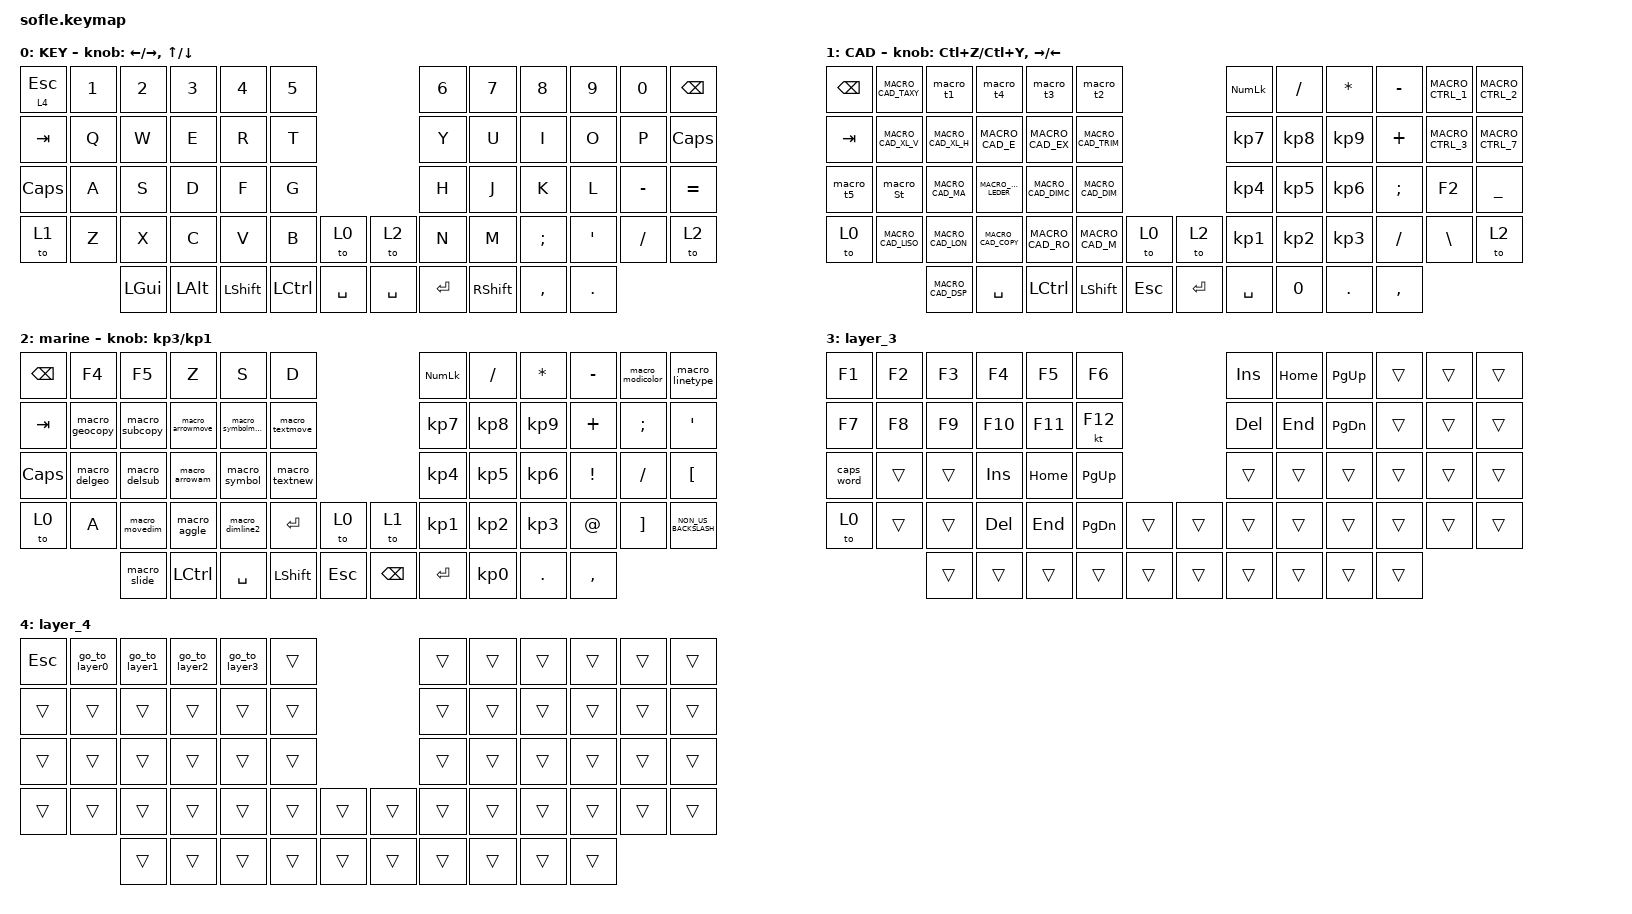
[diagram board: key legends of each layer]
/*
 * Copyright (c) 2020 The ZMK Contributors
 *
 * SPDX-License-Identifier: MIT
 */

#include <behaviors.dtsi>
#include <dt-bindings/zmk/keys.h>

#define BASE 0
#define LOWER 1
#define RAISE 2
#define ADJUST 3

/ {
    // Activate ADJUST layer by pressing raise and lower

    conditional_layers { compatible = "zmk,conditional-layers"; };

    macros {
        MACRO_CAD_M: CAD_MOVE {
            compatible = "zmk,behavior-macro";
            #binding-cells = <0>;
            bindings = <&kp M &kp SPACE>;
            label = "CAD_MOVE";
            tap-ms = <1>;
        };

        MACRO_CAD_RO: CAD_ROTATE {
            compatible = "zmk,behavior-macro";
            #binding-cells = <0>;
            bindings = <&kp R &kp O &kp SPACE>;
            label = "CAD_ROTATE";
            tap-ms = <1>;
        };

        MACRO_CAD_DIM: CAD_DIM {
            compatible = "zmk,behavior-macro";
            #binding-cells = <0>;
            bindings = <&kp D &kp L &kp I &kp SPACE>;
            label = "CAD_DIM";
            tap-ms = <1>;
        };

        MACRO_CAD_DIMC: CAD_DIMCONTINUE {
            compatible = "zmk,behavior-macro";
            #binding-cells = <0>;
            bindings = <&kp D &kp C &kp O &kp SPACE>;
            label = "CAD_DIMCONTINUE";
            tap-ms = <1>;
        };

        MACRO_CAD_LEDER: CAD_QLEDER {
            compatible = "zmk,behavior-macro";
            #binding-cells = <0>;
            bindings = <&kp L &kp E &kp SPACE>;
            label = "CAD_QLEDER";
            tap-ms = <1>;
        };

        MACRO_CAD_LISO: CAD_LAYISO {
            compatible = "zmk,behavior-macro";
            #binding-cells = <0>;
            bindings = <&kp L &kp A &kp Y &kp I &kp S &kp O &kp SPACE>;
            label = "CAD_LAYISO";
            tap-ms = <1>;
        };

        MACRO_CAD_LON: CAD_LAYON {
            compatible = "zmk,behavior-macro";
            #binding-cells = <0>;
            bindings = <&kp L &kp A &kp Y &kp O &kp N &kp SPACE>;
            label = "CAD_LAYON";
            tap-ms = <1>;
        };

        MACRO_CAD_XL_V: CAD_XLV {
            compatible = "zmk,behavior-macro";
            #binding-cells = <0>;
            bindings = <&kp X &kp L &kp SPACE &kp V &kp SPACE>;
            label = "CAD_XLV";
            tap-ms = <1>;
        };

        MACRO_CAD_XL_H: CAD_XLH {
            compatible = "zmk,behavior-macro";
            #binding-cells = <0>;
            bindings = <&kp X &kp L &kp SPACE &kp H &kp SPACE>;
            label = "CAD_XLH";
            tap-ms = <1>;
        };

        MACRO_CAD_AGN: CAD_ALIGN {
            compatible = "zmk,behavior-macro";
            #binding-cells = <0>;
            bindings = <&kp A &kp L &kp SPACE>;
            label = "CAD_ALIGN";
            tap-ms = <1>;
        };

        MACRO_CAD_TRIM: CAD_TRIM {
            compatible = "zmk,behavior-macro";
            #binding-cells = <0>;
            bindings = <&kp T &kp R &kp SPACE>;
            label = "CAD_TRIM";
            tap-ms = <1>;
        };

        MACRO_CAD_MA: CAD_MATCH {
            compatible = "zmk,behavior-macro";
            #binding-cells = <0>;
            bindings = <&kp M &kp A &kp SPACE>;
            label = "CAD_MATCH";
            tap-ms = <1>;
        };

        MACRO_CAD_ROTPC: CAD_LISP_ROTPC {
            compatible = "zmk,behavior-macro";
            #binding-cells = <0>;
            bindings = <&kp R &kp O &kp T &kp P &kp C &kp SPACE>;
            label = "CAD_LISP_ROTPC";
            tap-ms = <1>;
        };

        MACRO_CAD_FIND: CAD_LISP_STBS {
            compatible = "zmk,behavior-macro";
            #binding-cells = <0>;
            bindings = <&kp S &kp T &kp B &kp S &kp SPACE>;
            label = "CAD_LISP_STBS";
            tap-ms = <1>;
        };

        MACRO_CAD_TAXY: CAD_LISP_TEXTALGINXY {
            compatible = "zmk,behavior-macro";
            #binding-cells = <0>;
            bindings = <&kp T &kp A &kp X &kp Y &kp SPACE>;
            label = "CAD_LISP_TEXTALGINXY";
            tap-ms = <1>;
        };

        MACRO_CAD_TD50X: CAD_LISP_TEXTDIS50X {
            compatible = "zmk,behavior-macro";
            #binding-cells = <0>;
            bindings = <&kp T &kp D &kp NUMBER_5 &kp NUMBER_0 &kp X &kp SPACE>;
            label = "CAD_LISP_TEXTDIS50X";
            tap-ms = <1>;
        };

        MACRO_CAD_TD50Y: CAD_LISP_TEXTDIS50Y {
            compatible = "zmk,behavior-macro";
            #binding-cells = <0>;
            bindings = <&kp T &kp D &kp NUMBER_5 &kp NUMBER_0 &kp Y &kp SPACE>;
            label = "CAD_LISP_TEXTDIS50Y";
            tap-ms = <1>;
        };

        MACRO_CAD_COPY: CAD_COPY {
            compatible = "zmk,behavior-macro";
            #binding-cells = <0>;
            bindings = <&kp C &kp O &kp SPACE>;
            label = "CAD_COPY";
            tap-ms = <1>;
        };

        MACRO_CAD_MIRRO: CAD_MIRRO {
            compatible = "zmk,behavior-macro";
            #binding-cells = <0>;
            bindings = <&kp M &kp I &kp SPACE>;
            label = "CAD_MIRRO";
            tap-ms = <1>;
        };

        MACRO_CAD_UNDO: CAD_UNDO {
            compatible = "zmk,behavior-macro";
            #binding-cells = <0>;
            bindings = <&kp LCTRL &kp Z>;
            label = "CAD_UNDO";
            tap-ms = <1>;
        };

        MACRO_CAD_E: CAD_E_DELETE {
            compatible = "zmk,behavior-macro";
            #binding-cells = <0>;
            bindings = <&kp E &kp SPACE>;
            label = "CAD_E_DELETE";
            tap-ms = <1>;
        };

        MACRO_CAD_EX: CAD_EX {
            compatible = "zmk,behavior-macro";
            #binding-cells = <0>;
            bindings = <&kp E &kp X &kp SPACE>;
            label = "CAD_EX";
            tap-ms = <1>;
        };

        MACRO_CAD_DSP: CAD_DIMSPA {
            compatible = "zmk,behavior-macro";
            #binding-cells = <0>;
            bindings = <&kp D &kp I &kp M &kp S &kp P &kp SPACE>;
            label = "CAD_DIMSPA";
            tap-ms = <1>;
        };

        MACRO_CTRL_1: MACRO_CTRL_1 {
            compatible = "zmk,behavior-macro";
            #binding-cells = <0>;
            bindings = <&sk LCTRL &kp N1>;
            label = "MACRO_CTRL_1";
            tap-ms = <1>;
        };

        MACRO_CTRL_2: MACRO_CTRL_2 {
            compatible = "zmk,behavior-macro";
            #binding-cells = <0>;
            bindings = <&sk LCTRL &kp N2>;
            label = "MACRO_CTRL_2";
            tap-ms = <1>;
        };

        MACRO_CTRL_3: MACRO_CTRL_3 {
            compatible = "zmk,behavior-macro";
            #binding-cells = <0>;
            bindings = <&sk LCTRL &kp N3>;
            label = "MACRO_CTRL_3";
            tap-ms = <1>;
        };

        MACRO_CTRL_7: MACRO_CTRL_7 {
            compatible = "zmk,behavior-macro";
            #binding-cells = <0>;
            bindings = <&sk LCTRL &kp N7>;
            label = "MACRO_CTRL_7";
            tap-ms = <1>;
        };

        macro_line: macro_line {
            compatible = "zmk,behavior-macro";
            #binding-cells = <0>;
            bindings = <&kp L &kp SPACE>;
            label = "MACRO_LINE";
            tap-ms = <1>;
        };

        macro_delsub: macro_delsub {
            compatible = "zmk,behavior-macro";
            #binding-cells = <0>;
            bindings = <&kp LEFT_ALT &kp E &kp D &kp S>;
            label = "MACRO_DELSUB";
            tap-ms = <1>;
        };

        macro_delgeo: macro_delgeo {
            compatible = "zmk,behavior-macro";
            #binding-cells = <0>;
            bindings = <&kp LEFT_ALT &kp E &kp D &kp G>;
            label = "MACRO_DELGEO";
            tap-ms = <1>;
        };

        macro_lineam: macro_lineam {
            compatible = "zmk,behavior-macro";
            #binding-cells = <0>;
            bindings = <&kp LEFT_ALT &kp I &kp L>;
            label = "MACRO_LINEAM";
            tap-ms = <1>;
        };

        macro_cricle: macro_cricle {
            compatible = "zmk,behavior-macro";
            #binding-cells = <0>;
            bindings = <&kp LEFT_ALT &kp I &kp A>;
            label = "MACRO_CRICLE";
            tap-ms = <1>;
        };

        macro_textnew: macro_textnew {
            compatible = "zmk,behavior-macro";
            #binding-cells = <0>;
            bindings = <&kp LEFT_ALT &kp I &kp T>;
            label = "MACRO_TEXTNEW";
            tap-ms = <1>;
        };

        macro_symbol: macro_symbol {
            compatible = "zmk,behavior-macro";
            #binding-cells = <0>;
            bindings = <&kp LEFT_ALT &kp I &kp Y>;
            label = "MACRO_SYMBOL";
            tap-ms = <1>;
        };

        macro_slide: macro_slide {
            compatible = "zmk,behavior-macro";
            #binding-cells = <0>;
            bindings = <&kp LEFT_ALT &kp T &kp I &kp S &kp SPACE>;
            label = "MACRO_SLIDE";
            tap-ms = <1>;
        };

        macro_dimline2: macro_dimline2 {
            compatible = "zmk,behavior-macro";
            #binding-cells = <0>;
            bindings = <&kp LEFT_ALT &kp D &kp L>;
            label = "MACRO_DIMLINE2";
            tap-ms = <1>;
        };

        macro_arrowam: macro_arrowam {
            compatible = "zmk,behavior-macro";
            #binding-cells = <0>;
            bindings = <&kp LEFT_ALT &kp A &kp N>;
            label = "MACRO_ARROWAM";
            tap-ms = <1>;
        };

        macro_textmove: macro_textmove {
            compatible = "zmk,behavior-macro";
            #binding-cells = <0>;
            bindings = <&kp LEFT_ALT &kp M &kp M &kp I>;
            label = "MACRO_TEXTMOVE";
            tap-ms = <1>;
        };

        macro_symbolmove: macro_symbolmove {
            compatible = "zmk,behavior-macro";
            #binding-cells = <0>;
            bindings = <&kp LEFT_ALT &kp M &kp M &kp Y>;
            label = "MACRO_SYMBOLMOVE";
            tap-ms = <1>;
        };

        macro_arrowmove: macro_arrowmove {
            compatible = "zmk,behavior-macro";
            #binding-cells = <0>;
            bindings = <&kp LEFT_ALT &kp M &kp M &kp R>;
            label = "MACRO_ARROWMOVE";
            tap-ms = <1>;
        };

        macro_aggle: macro_aggle {
            compatible = "zmk,behavior-macro";
            #binding-cells = <0>;
            bindings = <&kp LEFT_ALT &kp D &kp A>;
            label = "MACRO_AGGLE";
            tap-ms = <1>;
        };

        macro_textcopy: macro_textcopy {
            compatible = "zmk,behavior-macro";
            #binding-cells = <0>;
            bindings = <&kp LEFT_ALT &kp M &kp C &kp T>;
            label = "MACRO_TEXTCOPY";
            tap-ms = <1>;
        };

        macro_symbolcopy: macro_symbolcopy {
            compatible = "zmk,behavior-macro";
            #binding-cells = <0>;
            bindings = <&kp LEFT_ALT &kp M &kp C &kp Y>;
            label = "MACRO_SYMBOLCOPY";
            tap-ms = <1>;
        };

        macro_geocopy: macro_geocopy {
            compatible = "zmk,behavior-macro";
            #binding-cells = <0>;
            bindings = <&kp LEFT_ALT &kp M &kp C &kp G>;
            label = "MACRO_GEOCOPY";
            tap-ms = <1>;
        };

        macro_subcopy: macro_subcopy {
            compatible = "zmk,behavior-macro";
            #binding-cells = <0>;
            bindings = <&kp LEFT_ALT &kp M &kp C &kp U>;
            label = "MACRO_SUBCOPY";
            tap-ms = <1>;
        };

        macro_movedim: macro_movedim {
            compatible = "zmk,behavior-macro";
            #binding-cells = <0>;
            bindings = <&kp LEFT_ALT &kp M &kp D>;
            label = "MACRO_MOVEDIM";
            tap-ms = <1>;
        };

        macro_modicolor: macro_modicolor {
            compatible = "zmk,behavior-macro";
            #binding-cells = <0>;
            bindings = <&kp LEFT_ALT &kp M &kp O>;
            label = "MACRO_MODICOLOR";
            tap-ms = <1>;
        };

        macro_linetype: macro_linetype {
            compatible = "zmk,behavior-macro";
            #binding-cells = <0>;
            bindings = <&kp LEFT_ALT &kp M &kp I>;
            label = "MACRO_LINETYPE";
            tap-ms = <1>;
        };

        macro_t3: macro_t3 {
            compatible = "zmk,behavior-macro";
            #binding-cells = <0>;
            bindings = <&kp T &kp NUMBER_3 &kp SPACE>;
            label = "MACRO_T3";
            tap-ms = <1>;
        };

        macro_t4: macro_t4 {
            compatible = "zmk,behavior-macro";
            #binding-cells = <0>;
            bindings = <&kp T &kp NUMBER_4 &kp SPACE>;
            label = "MACRO_T4";
            tap-ms = <1>;
        };

        macro_t2: macro_t2 {
            compatible = "zmk,behavior-macro";
            #binding-cells = <0>;
            bindings = <&kp T &kp NUMBER_2 &kp SPACE>;
            label = "MACRO_T2";
            tap-ms = <1>;
        };

        macro_t1: macro_t1 {
            compatible = "zmk,behavior-macro";
            #binding-cells = <0>;
            bindings = <&kp T &kp NUMBER_1 &kp SPACE>;
            label = "MACRO_T1";
            tap-ms = <1>;
        };

        macro_t5: macro_t5 {
            compatible = "zmk,behavior-macro";
            #binding-cells = <0>;
            bindings = <&kp T &kp N5 &kp SPACE>;
            label = "MACRO_T5";
            tap-ms = <1>;
        };

        macro_St: macro_STR {
            compatible = "zmk,behavior-macro";
            #binding-cells = <0>;
            bindings = <&kp S &kp SPACE>;
            label = "MACRO_STR";
        };

        go_to_layer0: go_to_layer0 {
            compatible = "zmk,behavior-macro";
            #binding-cells = <0>;
            bindings = <&to 0>;
            label = "GO_TO_LAYER0";
        };

        go_to_layer1: go_to_layer1 {
            compatible = "zmk,behavior-macro";
            #binding-cells = <0>;
            bindings = <&to 1>;
            label = "GO_TO_LAYER1";
        };

        go_to_layer2: go_to_layer2 {
            compatible = "zmk,behavior-macro";
            #binding-cells = <0>;
            bindings = <&to 2>;
            label = "GO_TO_LAYER2";
        };

        go_to_layer3: go_to_layer3 {
            compatible = "zmk,behavior-macro";
            #binding-cells = <0>;
            bindings = <&to 2>;
            label = "GO_TO_LAYER3";
        };
    };

    keymap {
        compatible = "zmk,keymap";

        KEYBOARD_layer {
            label = "KEY";

            // ------------------------------------------------------------------------------------------------------------
            // |   `   |  1  |  2  |  3   |  4   |  5   |                   |  6   |  7    |  8    |  9   |   0   |       |
            // |  ESC  |  Q  |  W  |  E   |  R   |  T   |                   |  Y   |  U    |  I    |  O   |   P   | BKSPC |
            // |  TAB  |  A  |  S  |  D   |  F   |  G   |                   |  H   |  J    |  K    |  L   |   ;   |   '   |
            // | SHIFT |  Z  |  X  |  C   |  V   |  B   |  MUTE  |  |       |  N   |  M    |  ,    |  .   |   /   | SHIFT |
            //               | GUI | ALT  | CTRL | LOWER|  ENTER |  | SPACE | RAISE| CTRL  | ALT   | GUI  |

            bindings = <
&lt 4 ESC  &kp N1  &kp N2    &kp N3    &kp N4      &kp N5                             &kp N6     &kp N7           &kp N8         &kp N9      &kp N0     &kp BACKSPACE
&kp TAB    &kp Q   &kp W     &kp E     &kp R       &kp T                              &kp Y      &kp U            &kp I          &kp O       &kp P      &kp CAPSLOCK
&kp CAPS   &kp A   &kp S     &kp D     &kp F       &kp G                              &kp H      &kp J            &kp K          &kp L       &kp MINUS  &kp EQUAL
&to 1      &kp Z   &kp X     &kp C     &kp V       &kp B      &to 0        &to 2      &kp N      &kp M            &kp SEMICOLON  &kp SQT     &kp SLASH  &to 2
                   &kp LGUI  &kp LALT  &kp LSHIFT  &kp LCTRL  &kp SPACE    &kp SPACE  &kp ENTER  &kp RIGHT_SHIFT  &kp COMMA      &kp PERIOD
            >;

            sensor-bindings = <&inc_dec_kp LEFT RIGHT>, <&inc_dec_kp UP DOWN>;
        };

        MACRO_LAYER {
            label = "CAD";

            // TODO: Some binds are waiting for shifted keycode support.
            // ------------------------------------------------------------------------------------------------------------
            // |       |  F1 |  F2 |  F3  |  F4  |  F5  |                   |  F6  |  F7   |  F8   |  F9  |  F10  |  F11  |
            // |   `   |  1  |  2  |  3   |  4   |  5   |                   |  6   |  7    |  8    |  9   |   0   |  F12  |
            // |       |  !  |  @  |  #   |  $   |  %   |                   |  ^   |  &    |  *    |  (   |   )   |   |   |
            // |       |  =  |  -  |  +   |  {   |  }   |        |  |       |  [   |  ]    |  ;    |  :   |   \   |       |
            //               |     |      |      |      |        |  |       |      |       |       |      |

            bindings = <
&kp BACKSPACE  &MACRO_CAD_TAXY  &macro_t1        &macro_t4         &macro_t3        &macro_t2                              &kp KP_NUMLOCK   &kp SLASH        &kp ASTERISK     &kp MINUS      &MACRO_CTRL_1  &MACRO_CTRL_2
&kp TAB        &MACRO_CAD_XL_V  &MACRO_CAD_XL_H  &MACRO_CAD_E      &MACRO_CAD_EX    &MACRO_CAD_TRIM                        &kp KP_NUMBER_7  &kp KP_NUMBER_8  &kp KP_NUMBER_9  &kp PLUS       &MACRO_CTRL_3  &MACRO_CTRL_7
&macro_t5      &macro_St        &MACRO_CAD_MA    &MACRO_CAD_LEDER  &MACRO_CAD_DIMC  &MACRO_CAD_DIM                         &kp KP_NUMBER_4  &kp KP_NUMBER_5  &kp KP_NUMBER_6  &kp SEMICOLON  &kp F2         &kp UNDER
&to 0          &MACRO_CAD_LISO  &MACRO_CAD_LON   &MACRO_CAD_COPY   &MACRO_CAD_RO    &MACRO_CAD_M     &to 0      &to 2      &kp KP_NUMBER_1  &kp KP_NUMBER_2  &kp KP_NUMBER_3  &kp SLASH      &kp BSLH       &to 2
                                &MACRO_CAD_DSP   &kp SPACE         &kp LCTRL        &kp LSHIFT       &kp ESC    &kp ENTER  &kp SPACE        &kp NUMBER_0     &kp DOT          &kp COMMA
            >;

            sensor-bindings =
                <&inc_dec_kp LC(Z) LC(Y)>,
                <&inc_dec_kp RIGHT LEFT>;
        };

        Fkey_layer {
            // ----------------------------------------------------------------------------------------------------------------------------
            // | BTCLR  |  BT1    |  BT2    |   BT3   |   BT4   |   BT5   |                  |      |      |       |      |       |       |
            // | EXTPWR | RGB_HUD | RGB_HUI | RGB_SAD | RGB_SAI | RGB_EFF |                  |      |      |       |      |       |       |
            // |        | RGB_BRD | RGB_BRI |         |         |         |                  |      |      |       |      |       |       |
            // |        |         |         |         |         |         | RGB_TOG | |      |      |      |       |      |       |       |
            //                    |         |         |         |         |         | |      |      |      |       |      |

            label = "marine";
            bindings = <
&kp BACKSPACE  &kp F4          &kp F5          &kp Z             &kp S              &kp D                                      &kp KP_NUMLOCK   &kp SLASH        &kp ASTERISK     &kp MINUS        &macro_modicolor   &macro_linetype
&kp TAB        &macro_geocopy  &macro_subcopy  &macro_arrowmove  &macro_symbolmove  &macro_textmove                            &kp KP_NUMBER_7  &kp KP_NUMBER_8  &kp KP_NUMBER_9  &kp PLUS         &kp SEMICOLON      &kp SQT
&kp CAPSLOCK   &macro_delgeo   &macro_delsub   &macro_arrowam    &macro_symbol      &macro_textnew                             &kp KP_NUMBER_4  &kp KP_NUMBER_5  &kp KP_NUMBER_6  &kp EXCLAMATION  &kp SLASH          &kp LEFT_BRACKET
&to 0          &kp A           &macro_movedim  &macro_aggle      &macro_dimline2    &kp ENTER        &to 0      &to 1          &kp KP_NUMBER_1  &kp KP_NUMBER_2  &kp KP_NUMBER_3  &kp AT_SIGN      &kp RIGHT_BRACKET  &kp NON_US_BACKSLASH
                               &macro_slide    &kp LCTRL         &kp SPACE          &kp LEFT_SHIFT   &kp ESC    &kp BACKSPACE  &kp ENTER        &kp KP_NUMBER_0  &kp DOT          &kp COMMA
            >;

            sensor-bindings = <&inc_dec_kp KP_NUMBER_3 KP_NUMBER_1>;
        };

        layer_3 {
            bindings = <
&kp F1      &kp F2  &kp F3  &kp F4      &kp F5    &kp F6                           &kp INSERT  &kp HOME  &kp PAGE_UP    &trans  &trans  &trans
&kp F7      &kp F8  &kp F9  &kp F10     &kp F11   &kt F12                          &kp DELETE  &kp END   &kp PAGE_DOWN  &trans  &trans  &trans
&caps_word  &trans  &trans  &kp INSERT  &kp HOME  &kp PAGE_UP                      &trans      &trans    &trans         &trans  &trans  &trans
&to 0       &trans  &trans  &kp DELETE  &kp END   &kp PAGE_DOWN  &trans    &trans  &trans      &trans    &trans         &trans  &trans  &trans
                    &trans  &trans      &trans    &trans         &trans    &trans  &trans      &trans    &trans         &trans
            >;
        };

        layer_4 {
            bindings = <
&kp ESC  &go_to_layer0  &go_to_layer1  &go_to_layer2  &go_to_layer3  &trans                    &trans  &trans  &trans  &trans  &trans  &trans
&trans   &trans         &trans         &trans         &trans         &trans                    &trans  &trans  &trans  &trans  &trans  &trans
&trans   &trans         &trans         &trans         &trans         &trans                    &trans  &trans  &trans  &trans  &trans  &trans
&trans   &trans         &trans         &trans         &trans         &trans  &trans    &trans  &trans  &trans  &trans  &trans  &trans  &trans
                        &trans         &trans         &trans         &trans  &trans    &trans  &trans  &trans  &trans  &trans
            >;
        };
    };
};
